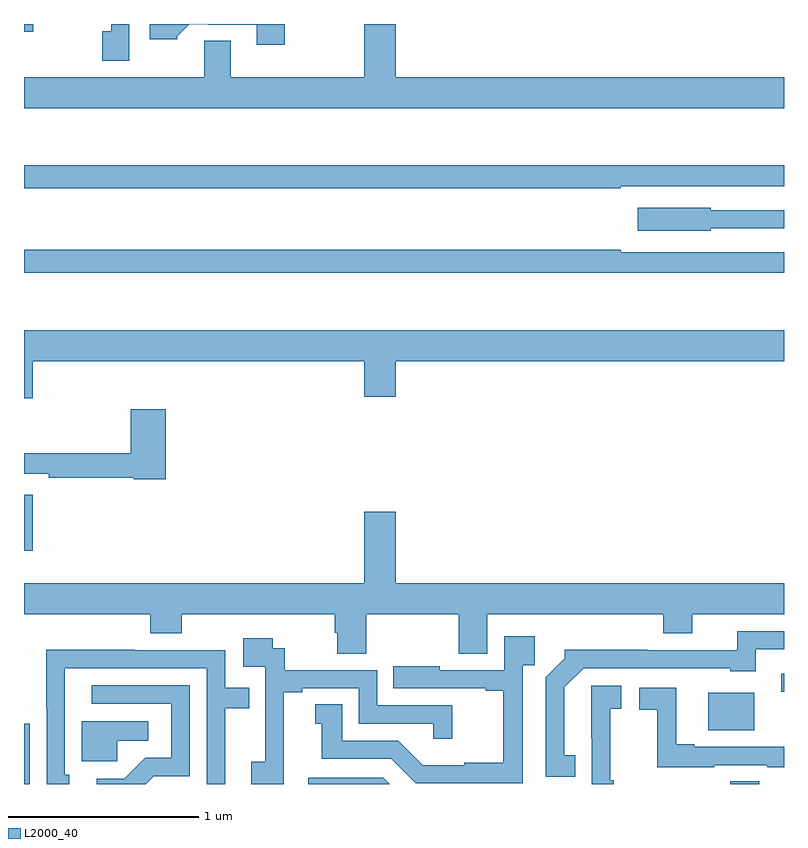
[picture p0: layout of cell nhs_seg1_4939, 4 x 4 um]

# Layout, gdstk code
import gdstk
lib = gdstk.Library(unit=1e-6, precision=1e-09)
def R(c, l, rs):  # rectangles x0, y0, x1, y1
    for r in rs: c.add(gdstk.rectangle(r[:2], r[2:], *l))
def P(c, l, *ps):  # polygons
    for p in ps: c.add(gdstk.Polygon(p, *l))
L2000_40 = (2000, 40)

nhs_seg1_4939 = lib.new_cell('nhs_seg1_4939')
R(nhs_seg1_4939, L2000_40, [(379,524.199,379.029,524.515), (382.718,524.199,382.87,524.213), (382.601,524.483,382.843,524.68), (382.985,524.685,383,524.779), (379,525.426,379.046,525.721), (379,528.159,379.048,528.199)])
P(nhs_seg1_4939, L2000_40, [(383,527.92),(380.956,527.92),(380.956,528.199),(380.792,528.199),(380.792,527.92),(380.089,527.92),(380.089,528.11),(379.949,528.11),(379.949,527.92),(379,527.92),(379,527.756),(383,527.756)],
  [(380.373,528.199),(379.662,528.199),(379.662,528.119),(379.806,528.119),(379.806,528.134),(379.87,528.198),(379.969,528.198),(379.969,528.195),(380.225,528.195),(380.225,528.09),(380.373,528.09)],
  [(379.554,528.199),(379.458,528.199),(379.458,528.162),(379.411,528.162),(379.411,528.006),(379.554,528.006)],
  [(382.142,527.346),(383,527.346),(383,527.455),(379,527.455),(379,527.334),(382.142,527.334)],
  [(382.614,527.124),(383,527.124),(383,527.22),(382.614,527.22),(382.614,527.233),(382.23,527.233),(382.23,527.111),(382.614,527.111)],
  [(383,526.998),(382.142,526.998),(382.142,527.011),(379,527.011),(379,526.89),(383,526.89)],
  [(379.046,526.424),(380.792,526.424),(380.792,526.236),(380.956,526.236),(380.956,526.424),(383,526.424),(383,526.588),(379,526.588),(379,526.23),(379.046,526.23)],
  [(379.745,526.171),(379.562,526.171),(379.562,525.94),(379,525.94),(379,525.831),(379.129,525.831),(379.129,525.811),(379.578,525.811),(379.578,525.803),(379.745,525.803)],
  [(380.801,525.092),(381.287,525.092),(381.287,524.884),(381.439,524.884),(381.439,525.092),(382.364,525.092),(382.364,524.993),(382.516,524.993),(382.516,525.092),(383,525.092),(383,525.256),(380.956,525.256),(380.956,525.631),(380.792,525.631),(380.792,525.256),(379,525.256),(379,525.092),(379.664,525.092),(379.664,524.993),(379.829,524.993),(379.829,525.092),(380.636,525.092),(380.636,524.994),(380.648,524.994),(380.648,524.884),(380.801,524.884)],
  [(381.902,524.351),(381.844,524.351),(381.844,524.707),(381.945,524.808),(382.716,524.808),(382.716,524.792),(382.852,524.792),(382.852,524.907),(383,524.907),(383,525.003),(382.753,525.003),(382.753,524.904),(382.28,524.904),(382.28,524.906),(381.846,524.906),(381.846,524.861),(381.747,524.762),(381.747,524.238),(381.902,524.238)],
  [(381.624,524.825),(381.689,524.825),(381.689,524.977),(381.528,524.977),(381.528,524.799),(381.187,524.799),(381.187,524.818),(380.944,524.818),(380.944,524.703),(381.431,524.703),(381.431,524.691),(381.523,524.691),(381.523,524.311),(381.317,524.311),(381.317,524.299),(381.098,524.299),(380.97,524.427),(380.674,524.427),(380.674,524.618),(380.534,524.618),(380.534,524.515),(380.567,524.515),(380.567,524.331),(380.934,524.331),(381.063,524.202),(381.624,524.202)],
  [(380.366,524.305),(380.368,524.305),(380.368,524.683),(380.464,524.683),(380.464,524.703),(380.763,524.703),(380.763,524.517),(381.153,524.517),(381.153,524.436),(381.254,524.436),(381.254,524.613),(380.859,524.613),(380.859,524.799),(380.372,524.799),(380.372,524.913),(380.31,524.913),(380.31,524.965),(380.154,524.965),(380.154,524.817),(380.271,524.817),(380.271,524.513),(380.27,524.513),(380.27,524.316),(380.196,524.316),(380.196,524.199),(380.366,524.199)],
  [(379.237,524.247),(379.215,524.247),(379.215,524.808),(379.962,524.808),(379.962,524.199),(380.059,524.199),(380.059,524.598),(380.186,524.598),(380.186,524.706),(380.058,524.706),(380.058,524.904),(379.58,524.904),(379.58,524.906),(379.118,524.906),(379.118,524.602),(379.119,524.602),(379.119,524.199),(379.237,524.199)],
  [(379.683,524.241),(379.872,524.241),(379.872,524.718),(379.356,524.718),(379.356,524.622),(379.776,524.622),(379.776,524.337),(379.638,524.337),(379.527,524.226),(379.383,524.226),(379.383,524.199),(379.641,524.199)],
  [(382.103,524.219),(382.086,524.219),(382.086,524.595),(382.144,524.595),(382.144,524.716),(381.986,524.716),(381.986,524.44),(381.987,524.44),(381.987,524.199),(382.103,524.199)],
  [(382.634,524.298),(382.913,524.298),(382.913,524.286),(383,524.286),(383,524.394),(382.528,524.394),(382.528,524.407),(382.432,524.407),(382.432,524.706),(382.239,524.706),(382.239,524.59),(382.333,524.59),(382.333,524.286),(382.634,524.286)],
  [(379.491,524.426),(379.654,524.426),(379.654,524.53),(379.304,524.53),(379.304,524.319),(379.491,524.319)],
  [(380.892,524.232),(380.496,524.232),(380.496,524.199),(380.925,524.199)])

lib.write_gds('nhs_seg1_4939.gds')
